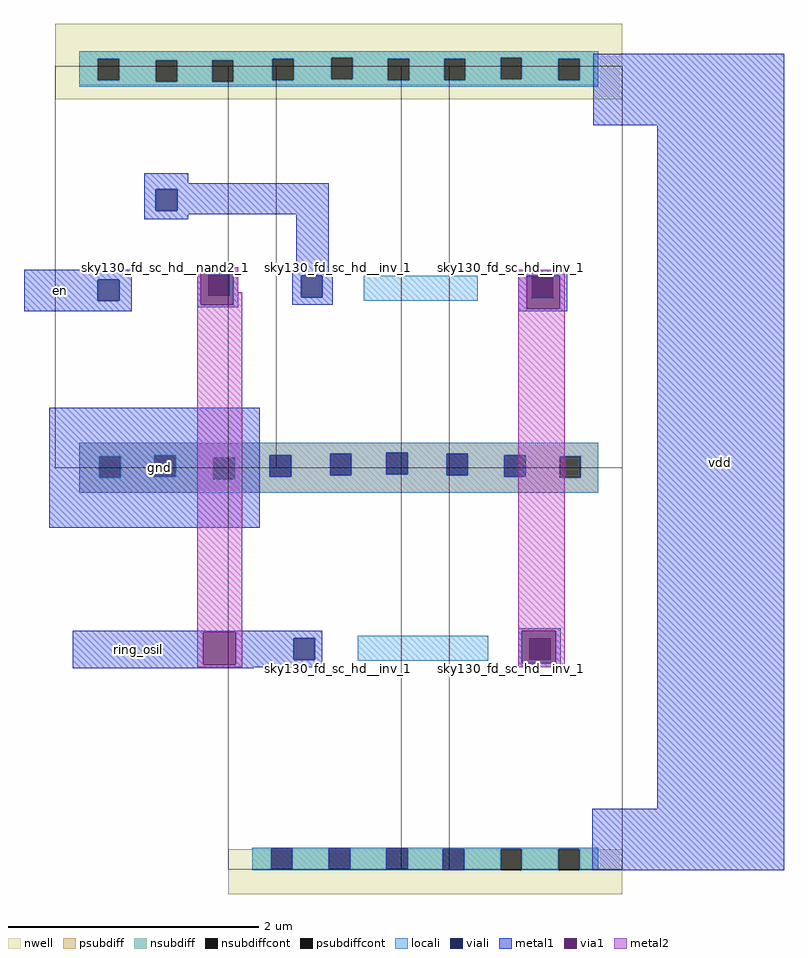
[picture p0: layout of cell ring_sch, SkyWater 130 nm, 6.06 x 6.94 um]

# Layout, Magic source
magic
tech sky130A
magscale 1 2
<< nwell >>
rect 116 1874 1020 1994
rect 460 678 494 680
rect 552 678 586 680
rect 644 678 678 680
rect 392 606 1020 678
<< psubdiff >>
rect 154 1310 982 1326
rect 154 1308 644 1310
rect 154 1306 554 1308
rect 154 1304 274 1306
rect 154 1270 186 1304
rect 220 1272 274 1304
rect 308 1302 458 1306
rect 308 1272 368 1302
rect 220 1270 368 1272
rect 154 1268 368 1270
rect 402 1272 458 1302
rect 492 1274 554 1306
rect 588 1276 644 1308
rect 678 1308 982 1310
rect 678 1276 740 1308
rect 588 1274 740 1276
rect 774 1306 982 1308
rect 774 1274 832 1306
rect 492 1272 832 1274
rect 866 1304 982 1306
rect 866 1272 920 1304
rect 402 1270 920 1272
rect 954 1270 982 1304
rect 402 1268 982 1270
rect 154 1246 982 1268
<< nsubdiff >>
rect 154 1940 982 1950
rect 154 1938 556 1940
rect 154 1904 184 1938
rect 218 1936 462 1938
rect 218 1904 276 1936
rect 154 1902 276 1904
rect 310 1902 366 1936
rect 400 1904 462 1936
rect 496 1906 556 1938
rect 590 1938 826 1940
rect 590 1906 646 1938
rect 496 1904 646 1906
rect 680 1904 736 1938
rect 770 1906 826 1938
rect 860 1938 982 1940
rect 860 1906 918 1938
rect 770 1904 918 1906
rect 952 1904 982 1938
rect 400 1902 982 1904
rect 154 1896 982 1902
rect 430 646 460 680
rect 494 646 552 680
rect 586 646 644 680
rect 678 678 982 680
rect 678 646 734 678
rect 430 644 734 646
rect 768 644 826 678
rect 860 644 918 678
rect 952 644 982 678
<< psubdiffcont >>
rect 186 1270 220 1304
rect 274 1272 308 1306
rect 368 1268 402 1302
rect 458 1272 492 1306
rect 554 1274 588 1308
rect 644 1276 678 1310
rect 740 1274 774 1308
rect 832 1272 866 1306
rect 920 1270 954 1304
<< nsubdiffcont >>
rect 184 1904 218 1938
rect 276 1902 310 1936
rect 366 1902 400 1936
rect 462 1904 496 1938
rect 556 1906 590 1940
rect 646 1904 680 1938
rect 736 1904 770 1938
rect 826 1906 860 1940
rect 918 1904 952 1938
rect 460 646 494 680
rect 552 646 586 680
rect 644 646 678 680
rect 734 644 768 678
rect 826 644 860 678
rect 918 644 952 678
<< locali >>
rect 154 1940 982 1950
rect 154 1938 556 1940
rect 154 1904 184 1938
rect 218 1936 462 1938
rect 218 1904 276 1936
rect 154 1902 276 1904
rect 310 1902 366 1936
rect 400 1904 462 1936
rect 496 1906 556 1938
rect 590 1938 826 1940
rect 590 1906 646 1938
rect 496 1904 646 1906
rect 680 1904 736 1938
rect 770 1906 826 1938
rect 860 1938 982 1940
rect 860 1906 918 1938
rect 770 1904 918 1906
rect 952 1904 982 1938
rect 400 1902 982 1904
rect 154 1894 982 1902
rect 608 1552 790 1592
rect 154 1310 982 1326
rect 154 1308 644 1310
rect 154 1306 554 1308
rect 154 1304 274 1306
rect 154 1270 186 1304
rect 220 1272 274 1304
rect 308 1302 458 1306
rect 308 1272 368 1302
rect 220 1270 368 1272
rect 154 1268 368 1270
rect 402 1272 458 1302
rect 492 1274 554 1306
rect 588 1276 644 1308
rect 678 1308 982 1310
rect 678 1276 740 1308
rect 588 1274 740 1276
rect 774 1306 982 1308
rect 774 1274 832 1306
rect 492 1272 832 1274
rect 866 1304 982 1306
rect 866 1272 920 1304
rect 402 1270 920 1272
rect 954 1270 982 1304
rect 402 1268 982 1270
rect 154 1246 982 1268
rect 598 978 806 1018
rect 430 646 460 680
rect 494 646 552 680
rect 586 646 644 680
rect 678 678 982 680
rect 678 646 734 678
rect 430 644 734 646
rect 768 644 826 678
rect 860 644 918 678
rect 952 644 982 678
<< viali >>
rect 276 1696 310 1730
rect 184 1552 218 1586
rect 360 1560 394 1594
rect 508 1558 542 1592
rect 876 1556 910 1590
rect 496 980 530 1014
rect 872 980 906 1014
<< metal1 >>
rect 974 1832 1278 1946
rect 258 1740 328 1756
rect 258 1730 552 1740
rect 258 1696 276 1730
rect 310 1696 552 1730
rect 258 1690 552 1696
rect 258 1682 328 1690
rect 66 1586 238 1602
rect 66 1552 184 1586
rect 218 1552 238 1586
rect 66 1536 238 1552
rect 342 1598 408 1606
rect 500 1598 552 1690
rect 342 1546 348 1598
rect 400 1546 408 1598
rect 494 1592 558 1598
rect 494 1558 508 1592
rect 542 1558 558 1592
rect 494 1546 558 1558
rect 854 1592 932 1602
rect 342 1542 408 1546
rect 854 1540 868 1592
rect 920 1540 932 1592
rect 854 1536 932 1540
rect 106 1190 442 1382
rect 458 1272 492 1306
rect 554 1274 588 1308
rect 644 1276 678 1310
rect 740 1274 774 1308
rect 832 1272 866 1306
rect 854 1026 922 1030
rect 144 1024 542 1026
rect 144 972 352 1024
rect 404 1014 542 1024
rect 404 980 496 1014
rect 530 980 542 1014
rect 404 972 542 980
rect 144 968 542 972
rect 854 974 860 1026
rect 914 974 922 1026
rect 854 968 922 974
rect 144 966 432 968
rect 1076 742 1278 1832
rect 460 646 494 680
rect 552 646 586 680
rect 644 646 678 680
rect 734 644 768 678
rect 972 644 1278 742
<< via1 >>
rect 348 1594 400 1598
rect 348 1560 360 1594
rect 360 1560 394 1594
rect 394 1560 400 1594
rect 348 1546 400 1560
rect 868 1590 920 1592
rect 868 1556 876 1590
rect 876 1556 910 1590
rect 910 1556 920 1590
rect 868 1540 920 1556
rect 352 972 404 1024
rect 860 1014 914 1026
rect 860 980 872 1014
rect 872 980 906 1014
rect 906 980 914 1014
rect 860 974 914 980
<< metal2 >>
rect 342 1598 408 1606
rect 342 1546 348 1598
rect 400 1566 408 1598
rect 854 1592 928 1602
rect 400 1546 414 1566
rect 342 1024 414 1546
rect 342 972 352 1024
rect 404 972 414 1024
rect 342 968 414 972
rect 854 1540 868 1592
rect 920 1540 928 1592
rect 854 1026 928 1540
rect 854 974 860 1026
rect 914 974 928 1026
rect 854 968 928 974
use sky130_fd_sc_hd__inv_1  x1 $PDKPATH/libs.ref/sky130_fd_sc_hd/mag
transform 1 0 430 0 1 1334
box -38 -48 314 592
use sky130_fd_sc_hd__inv_1  x2
transform 1 0 706 0 1 1334
box -38 -48 314 592
use sky130_fd_sc_hd__inv_1  x3
transform -1 0 982 0 -1 1238
box -38 -48 314 592
use sky130_fd_sc_hd__inv_1  x4
transform -1 0 706 0 -1 1238
box -38 -48 314 592
use sky130_fd_sc_hd__nand2_1  x5 $PDKPATH/libs.ref/sky130_fd_sc_hd/mag
transform -1 0 430 0 1 1334
box -38 -48 314 592
<< labels >>
flabel metal1 144 966 352 1026 0 FreeSans 320 0 0 0 ring_osil
port 1 nsew
flabel metal1 1076 644 1278 1946 0 FreeSans 320 0 0 0 vdd
port 2 nsew
flabel space 106 1190 459 1382 0 FreeSans 320 0 0 0 gnd
port 4 nsew
flabel metal1 66 1536 184 1602 0 FreeSans 320 0 0 0 en
port 0 nsew
<< end >>
